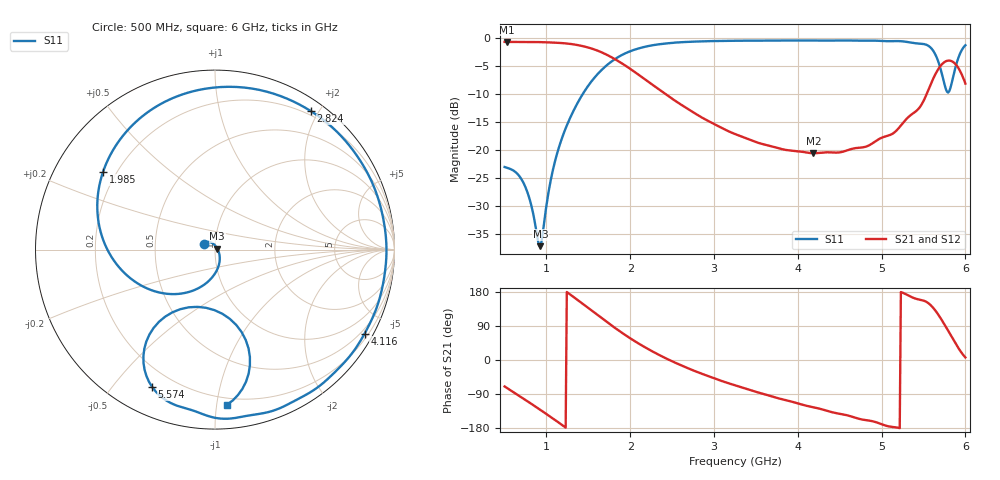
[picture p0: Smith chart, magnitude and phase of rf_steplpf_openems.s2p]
! kicad2ems openEMS FDTD (rf_steplpf); not computed (written as 0): S(P2,P2)
! ports: 1=P1, 2=P2
# Hz S RI R 50
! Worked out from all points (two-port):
!   401 points, 500 MHz to 6 GHz, reference 50 ohm
!   highest |S21| = -0.63 dB at 527.5 MHz (marker M1); lowest = -20.5 dB at 4.185 GHz (marker M2)
!   |S21| within 3 dB of the highest: start of sweep to 1.807 GHz
!   lowest |S11| = -37.1 dB at 926.2 MHz (marker M3), VSWR 1.03, Z = 51.3 + j0.551 ohm
!   |S11| at or under -10 dB: start of sweep to 1.43 GHz
!   |S22| runs from - to - dB; largest |S21 - S12| = 0
!   S11 on the Smith chart (normalised r, x): 500 MHz: 0.88, +0.06; 1.985 GHz: 0.15, +0.31; 2.824 GHz: 0.15, +1.90; 4.116 GHz: 0.35, -3.79; 5.574 GHz: 0.12, -0.63; 6 GHz: 0.15, -1.07
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5e8  -0.0633 0.032  0.3206 -0.8725  0.3206 -0.8725  0 0
5.275e8  -0.0612 0.0339  0.2602 -0.8926  0.2602 -0.8926  0 0
7.3375e8  -0.0272 0.0415  -0.2124 -0.9021  -0.2124 -0.9021  0 0
9.2625e8  0.0129 0.00537  -0.6142 -0.6922  -0.6142 -0.6922  0 0
1.1325e9  0.0187 -0.0953  -0.8729 -0.2659  -0.8729 -0.2659  0 0
1.27e9  -0.0422 -0.1812  -0.8913 0.0781  -0.8913 0.0781  0 0
1.42125e9  -0.187 -0.2449  -0.7418 0.4265  -0.7418 0.4265  0 0
1.6825e9  -0.5343 -0.0985  -0.2079 0.706  -0.2079 0.706  0 0
1.985e9  -0.6235 0.4338  0.2769 0.4674  0.2769 0.4674  0 0
2.3425e9  -0.1685 0.8688  0.3404 0.0819  0.3404 0.0819  0 0
2.82375e9  0.5347 0.7712  0.1684 -0.1126  0.1684 -0.1126  0 0
3.25e9  0.8757 0.3727  0.0552 -0.1285  0.0552 -0.1285  0 0
3.64875e9  0.9544 -0.0452  -0.00646 -0.1103  -0.00646 -0.1103  0 0
4.11625e9  0.8335 -0.4681  -0.0498 -0.0812  -0.0498 -0.0812  0 0
4.17125e9  0.8091 -0.5105  -0.0529 -0.0781  -0.0529 -0.0781  0 0
4.185e9  0.8027 -0.521  -0.0537 -0.0774  -0.0537 -0.0774  0 0
5.0925e9  0.1711 -0.9273  -0.1359 -0.0107  -0.1359 -0.0107  0 0
5.57375e9  -0.3509 -0.7644  -0.3103 0.2  -0.3103 0.2  0 0
5.67e9  -0.3827 -0.5122  -0.2749 0.4441  -0.2749 0.4441  0 0
5.78e9  -0.0983 -0.3189  0.081 0.6243  0.081 0.6243  0 0
5.89e9  0.1867 -0.5495  0.4368 0.3806  0.4368 0.3806  0 0
6e9  0.0672 -0.8646  0.392 0.0464  0.392 0.0464  0 0
